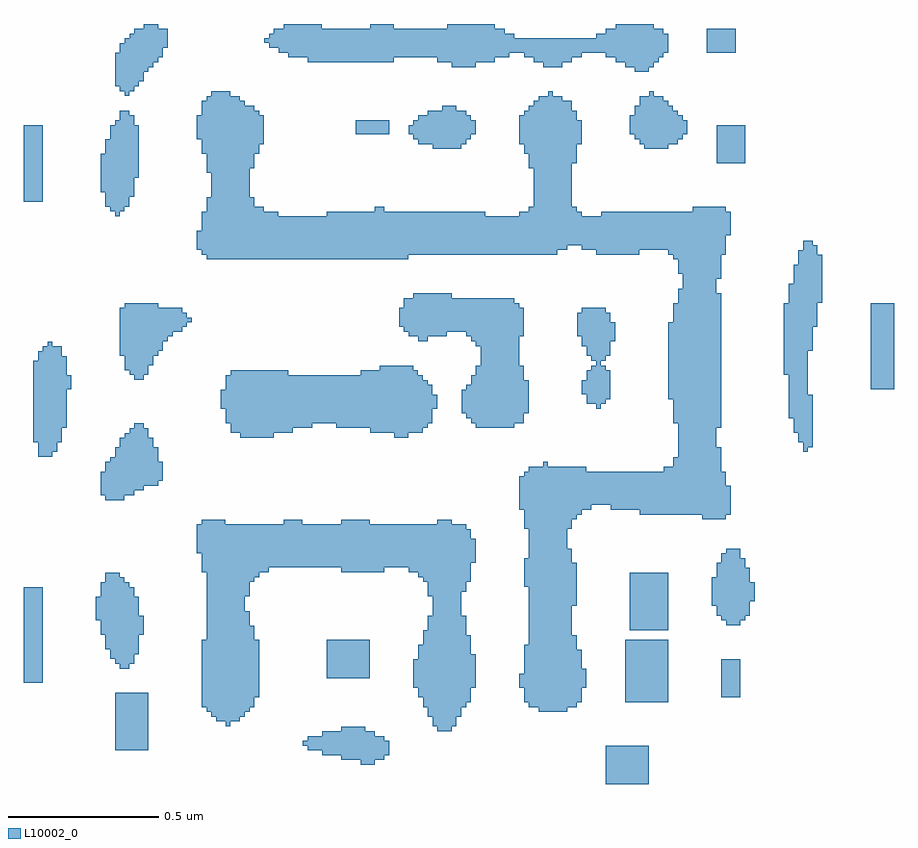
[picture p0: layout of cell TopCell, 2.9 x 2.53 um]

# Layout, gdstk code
import gdstk
lib = gdstk.Library(unit=1e-6, precision=1e-09)
def R(c, l, rs):  # rectangles x0, y0, x1, y1
    for r in rs: c.add(gdstk.rectangle(r[:2], r[2:], *l))
L10002_0 = (10002, 0)

topcell = lib.new_cell('TopCell')
R(topcell, L10002_0, [(2.416,0.8,2.559,0.927), (1.6,0.864,1.647,0.88), (1.536,0.88,1.679,0.896), (1.472,0.896,1.695,0.912), (0.784,0.912,0.895,1.103), (1.424,0.912,1.695,0.928), (1.408,0.928,1.695,0.943), (1.424,0.943,1.679,0.959), (1.472,0.959,1.647,0.975), (1.536,0.975,1.615,0.991), (1.856,0.976,1.903,0.992), (1.152,0.992,1.167,1.008), (1.84,0.992,1.919,1.024), (1.12,1.008,1.199,1.024), (1.104,1.024,1.215,1.04), (1.824,1.024,1.935,1.056), (1.088,1.04,1.231,1.056), (2.192,1.04,2.287,1.056), (1.072,1.056,1.247,1.279), (1.808,1.056,1.951,1.088), (2.16,1.056,2.319,1.072), (1.951,1.072,1.967,1.088), (2.144,1.072,2.335,1.12), (2.48,1.072,2.623,1.279), (1.247,1.088,1.263,1.279), (1.792,1.088,1.967,1.12), (2.8,1.088,2.863,1.215), (1.776,1.12,1.983,1.215), (2.128,1.12,2.351,1.167), (0.48,1.136,0.543,1.455), (1.488,1.152,1.631,1.279), (2.144,1.167,2.351,1.183), (2.144,1.183,2.335,1.247), (0.8,1.184,0.831,1.2), (0.784,1.2,0.847,1.216), (1.792,1.215,1.983,1.231), (0.768,1.216,0.847,1.248), (1.792,1.231,1.967,1.263), (0.847,1.232,0.863,1.248), (2.144,1.247,2.319,1.263), (0.752,1.248,0.863,1.296), (1.808,1.263,1.967,1.295), (2.16,1.263,2.319,1.295), (1.088,1.279,1.247,1.327), (1.808,1.295,1.951,1.311), (2.16,1.295,2.303,1.456), (0.736,1.296,0.879,1.344), (1.824,1.311,1.951,1.359), (2.496,1.312,2.623,1.503), (1.088,1.327,1.231,1.375), (2.816,1.328,2.863,1.344), (0.72,1.344,0.879,1.359), (2.8,1.344,2.879,1.36), (0.72,1.359,0.863,1.423), (1.84,1.359,1.935,1.424), (2.784,1.36,2.895,1.392), (1.088,1.375,1.215,1.504), (2.303,1.392,2.319,1.456), (2.768,1.392,2.895,1.487), (2.895,1.408,2.911,1.471), (0.736,1.423,0.847,1.455), (1.215,1.424,1.231,1.504), (1.824,1.424,1.935,1.472), (1.935,1.44,1.951,1.472), (0.736,1.455,0.831,1.471), (2.144,1.456,2.319,1.535), (0.752,1.471,0.815,1.487), (1.231,1.472,1.247,1.504), (1.808,1.472,1.967,1.488), (0.752,1.487,0.799,1.503), (2.784,1.487,2.895,1.519), (1.247,1.488,1.263,1.504), (1.792,1.488,1.967,1.504), (1.072,1.504,1.295,1.568), (1.536,1.504,1.679,1.52), (1.76,1.504,1.967,1.52), (2.784,1.519,2.879,1.535), (1.295,1.52,1.967,1.568), (2.144,1.535,2.303,1.551), (2.8,1.535,2.879,1.551), (1.967,1.536,1.983,1.568), (2.16,1.551,2.303,1.583), (2.8,1.551,2.863,1.567), (2.816,1.567,2.863,1.583), (1.056,1.568,1.983,1.615), (2.16,1.583,2.287,1.648), (1.056,1.615,1.967,1.647), (1.056,1.647,1.951,1.663), (2.144,1.648,2.303,1.712), (1.072,1.663,1.151,1.679), (1.344,1.663,1.407,1.679), (1.536,1.663,1.631,1.679), (1.856,1.663,1.903,1.679), (2.303,1.68,2.319,1.712), (2.736,1.68,2.815,1.696), (2.319,1.696,2.335,1.712), (2.528,1.696,2.831,1.712), (2.128,1.712,2.367,1.823), (2.432,1.712,2.831,1.728), (2.367,1.728,2.831,1.791), (0.752,1.744,0.815,1.76), (0.736,1.76,0.847,1.839), (0.847,1.776,0.879,1.839), (2.367,1.791,2.815,1.823), (0.879,1.792,0.927,1.839), (0.927,1.808,0.943,1.839), (2.144,1.823,2.815,1.839), (0.752,1.839,0.943,1.871), (2.16,1.839,2.351,1.855), (2.608,1.839,2.799,1.855), (2.208,1.855,2.223,1.871), (2.64,1.855,2.799,1.887), (0.768,1.871,0.927,1.887), (0.784,1.887,0.927,1.919), (2.656,1.887,2.799,1.919), (0.528,1.888,0.575,1.936), (0.575,1.904,0.591,1.936), (3.072,1.904,3.087,1.936), (0.8,1.919,0.911,1.951), (2.656,1.919,2.783,2), (3.087,1.92,3.103,1.936), (0.512,1.936,0.607,2.207), (3.056,1.936,3.103,1.968), (0.816,1.951,0.895,1.967), (1.2,1.952,1.311,1.968), (1.712,1.952,1.759,1.968), (0.832,1.967,0.895,1.983), (1.168,1.968,1.375,2), (1.632,1.968,1.807,1.984), (3.04,1.968,3.103,2.016), (0.848,1.983,0.879,1.999), (0.607,1.984,0.623,2.207), (1.375,1.984,1.439,2), (1.52,1.984,1.823,2), (1.984,1.984,2.111,2), (2.783,1.984,2.799,2), (1.152,2,1.839,2.048), (1.968,2,2.143,2.016), (2.64,2,2.799,2.08), (1.952,2.016,2.143,2.032), (3.024,2.016,3.103,2.095), (1.936,2.032,2.159,2.111), (1.136,2.048,1.855,2.095), (2.384,2.048,2.399,2.064), (2.352,2.064,2.415,2.096), (2.415,2.08,2.431,2.096), (2.624,2.08,2.799,2.335), (1.136,2.095,1.839,2.111), (3.024,2.095,3.087,2.16), (2.336,2.096,2.431,2.143), (1.152,2.111,1.839,2.127), (1.952,2.111,2.159,2.127), (0.623,2.112,0.639,2.159), (3.296,2.112,3.375,2.399), (1.152,2.127,1.823,2.143), (1.968,2.127,2.159,2.143), (1.152,2.143,1.807,2.159), (1.968,2.143,2.143,2.159), (2.352,2.143,2.431,2.175), (0.848,2.144,0.879,2.16), (1.168,2.159,1.359,2.175), (1.6,2.159,1.791,2.175), (1.984,2.159,2.143,2.191), (0.832,2.16,0.895,2.176), (3.008,2.16,3.087,2.399), (1.664,2.175,1.775,2.191), (2.368,2.175,2.415,2.191), (0.816,2.176,0.895,2.224), (2,2.191,2.127,2.256), (2.384,2.191,2.399,2.208), (0.895,2.192,0.911,2.224), (0.528,2.207,0.623,2.223), (2.368,2.208,2.415,2.224), (0.528,2.223,0.607,2.239), (0.8,2.224,0.927,2.383), (2.352,2.224,2.431,2.256), (0.544,2.239,0.607,2.255), (0.927,2.24,0.943,2.383), (3.087,2.24,3.103,2.399), (0.56,2.255,0.575,2.271), (1.984,2.256,2.127,2.272), (2.336,2.256,2.431,2.288), (0.943,2.272,0.959,2.383), (1.792,2.272,1.823,2.288), (1.968,2.272,2.127,2.288), (2.431,2.272,2.447,2.288), (0.959,2.288,0.975,2.383), (1.76,2.288,1.887,2.304), (1.952,2.288,2.143,2.304), (2.32,2.288,2.447,2.335), (0.975,2.304,1.007,2.383), (1.744,2.304,2.143,2.32), (1.007,2.32,1.023,2.367), (1.728,2.32,2.143,2.383), (3.103,2.32,3.119,2.399), (2.32,2.335,2.431,2.367), (2.64,2.335,2.799,2.399), (1.023,2.336,1.039,2.351), (2.336,2.367,2.415,2.383), (0.816,2.383,0.927,2.399), (1.744,2.383,2.127,2.399), (1.744,2.399,2.111,2.415), (2.656,2.399,2.799,2.431), (3.024,2.399,3.119,2.463), (3.119,2.4,3.135,2.463), (1.776,2.415,1.903,2.431), (2.656,2.431,2.783,2.447), (2.672,2.447,2.783,2.496), (3.04,2.463,3.135,2.527), (2.783,2.48,2.799,2.496), (2.656,2.496,2.799,2.544), (3.056,2.527,3.135,2.559), (1.088,2.544,1.759,2.56), (2.64,2.544,2.799,2.56), (3.056,2.559,3.119,2.575), (1.072,2.56,2.255,2.576), (2.384,2.56,2.527,2.576), (2.624,2.56,2.815,2.576), (3.072,2.575,3.119,2.591), (1.056,2.576,2.287,2.639), (2.336,2.576,2.815,2.592), (3.072,2.591,3.103,2.607), (2.287,2.592,2.815,2.639), (2.815,2.624,2.831,2.639), (1.072,2.639,2.831,2.687), (1.072,2.687,1.327,2.703), (1.488,2.687,2.015,2.703), (2.128,2.687,2.335,2.703), (2.4,2.687,2.831,2.703), (0.784,2.688,0.799,2.704), (1.088,2.703,1.279,2.719), (1.648,2.703,1.679,2.719), (2.16,2.703,2.319,2.719), (2.704,2.703,2.815,2.719), (0.768,2.704,0.815,2.72), (1.088,2.719,1.247,2.751), (2.176,2.719,2.303,2.848), (0.752,2.72,0.831,2.768), (0.48,2.736,0.543,2.991), (1.104,2.751,1.231,2.832), (0.831,2.752,0.847,2.768), (0.736,2.768,0.847,2.895), (0.847,2.816,0.863,2.895), (1.088,2.832,1.231,2.896), (1.231,2.848,1.247,2.896), (2.16,2.848,2.303,2.896), (2.303,2.864,2.319,2.896), (2.784,2.864,2.879,2.991), (0.752,2.895,0.863,2.943), (1.072,2.896,1.263,2.944), (2.144,2.896,2.319,2.928), (1.84,2.912,1.935,2.928), (2.544,2.912,2.623,2.928), (1.263,2.928,1.279,2.944), (1.792,2.928,1.951,2.944), (2.128,2.928,2.335,3.007), (2.528,2.928,2.655,2.944), (0.768,2.943,0.863,2.991), (1.056,2.944,1.279,3.023), (1.776,2.944,1.967,2.96), (2.512,2.944,2.671,2.96), (1.584,2.96,1.695,3.007), (1.76,2.96,1.983,2.991), (2.496,2.96,2.687,3.007), (0.784,2.991,0.847,3.007), (1.776,2.991,1.983,3.007), (0.8,3.007,0.847,3.023), (1.792,3.007,1.967,3.023), (2.128,3.007,2.319,3.023), (2.496,3.007,2.671,3.023), (0.8,3.023,0.831,3.039), (1.072,3.023,1.263,3.039), (1.824,3.023,1.951,3.039), (2.144,3.023,2.319,3.039), (2.512,3.023,2.655,3.039), (1.072,3.039,1.247,3.055), (1.872,3.039,1.919,3.055), (2.16,3.039,2.303,3.055), (2.512,3.039,2.639,3.055), (1.072,3.055,1.215,3.071), (2.176,3.055,2.303,3.071), (2.528,3.055,2.623,3.071), (1.088,3.071,1.199,3.087), (2.192,3.071,2.271,3.087), (2.528,3.071,2.607,3.087), (1.104,3.087,1.167,3.103), (2.224,3.087,2.239,3.103), (2.56,3.087,2.575,3.103), (0.816,3.088,0.831,3.104), (0.8,3.104,0.847,3.12), (0.784,3.12,0.863,3.231), (0.863,3.136,0.879,3.231), (0.879,3.168,0.895,3.231), (2.512,3.168,2.559,3.184), (0.895,3.184,0.911,3.231), (1.904,3.184,1.983,3.2), (2.208,3.184,2.271,3.2), (2.48,3.184,2.575,3.2), (0.911,3.2,0.927,3.231), (1.424,3.2,1.711,3.216), (1.856,3.2,2.047,3.216), (2.176,3.2,2.303,3.216), (2.448,3.2,2.591,3.216), (0.927,3.216,0.943,3.231), (1.36,3.216,2.095,3.232), (2.144,3.216,2.335,3.232), (2.416,3.216,2.607,3.232), (0.8,3.231,0.943,3.263), (1.328,3.232,2.623,3.248), (2.752,3.232,2.847,3.311), (0.943,3.248,0.959,3.263), (1.296,3.248,2.623,3.264), (0.816,3.263,0.959,3.279), (1.28,3.264,2.623,3.279), (0.832,3.279,0.959,3.295), (1.296,3.279,2.111,3.295), (2.384,3.279,2.623,3.295), (0.848,3.295,0.959,3.311), (1.312,3.295,2.079,3.311), (2.416,3.295,2.607,3.311), (0.88,3.311,0.927,3.327), (1.344,3.311,1.471,3.327), (1.632,3.311,1.711,3.327), (1.888,3.311,2.047,3.327), (2.448,3.311,2.575,3.327)])

lib.write_gds('TopCell.gds')
